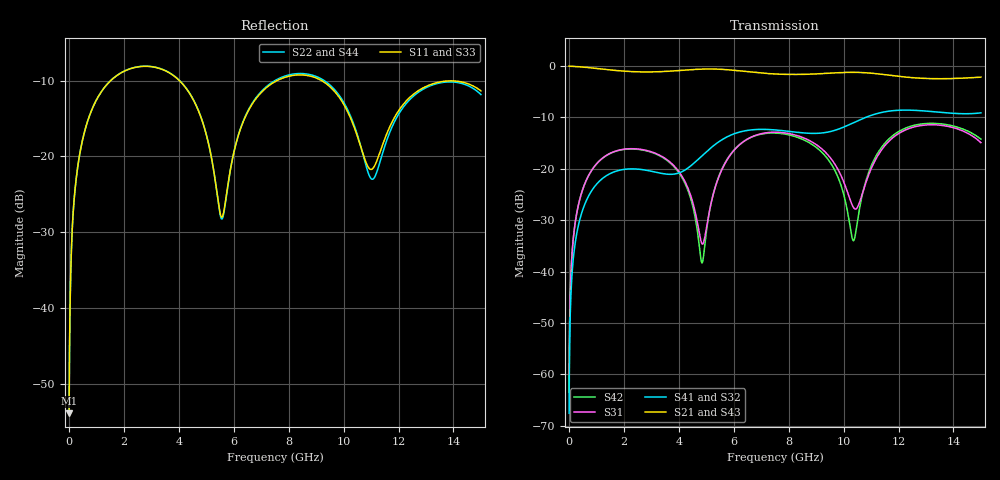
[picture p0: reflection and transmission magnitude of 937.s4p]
! Created with skrf 1.8.0 (http://scikit-rf.org).
# GHz S RI R 50.0
!freq ReS11 ImS11 ReS12 ImS12 ReS13 ImS13
! ReS14 ImS14
! ReS21 ImS21 ReS22 ImS22 ReS23 ImS23
! ReS24 ImS24
! ReS31 ImS31 ReS32 ImS32 ReS33 ImS33
! ReS34 ImS34
! ReS41 ImS41 ReS42 ImS42 ReS43 ImS43
! ReS44 ImS44
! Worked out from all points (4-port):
!   2499 points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, 5 MHz to 15 GHz, reference 50 ohm
!   strongest paths, dB at 5 MHz, 3.476 GHz, 7.19 GHz, 11.1 GHz, 15 GHz:
!     S21: 0.0, -1.0, -1.4, -1.4, -2.2
!     S43: 0.0, -1.0, -1.4, -1.4, -2.1
!     S41: -67.6, -21.0, -12.3, -9.4, -9.1
!     S32: -67.6, -21.0, -12.4, -9.4, -9.2
!     S31: -63.5, -17.9, -13.0, -18.9, -14.9
!     S42: -63.5, -18.0, -13.1, -18.3, -14.2
!   lowest |S11| = -53.9 dB at 5 MHz (marker M1), VSWR 1.00, Z = 50.2 + j0.123 ohm
!   |S11| at or under -10 dB: start of sweep to 1.521 GHz; 4.02 GHz to 7.577 GHz (3.557 GHz wide, 61.3 % of centre); 9.197 GHz to end of sweep
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0.005  0.00161 0.00122  0.9984 -0.00314  8.18e-05 0.000661  -7.93e-05 -0.000411
       0.9984 -0.00314  0.00161 0.00122  -7.93e-05 -0.000411  8.17e-05 0.000661
       8.18e-05 0.000661  -7.93e-05 -0.000411  0.00161 0.00122  0.9984 -0.00314
       -7.93e-05 -0.000411  8.17e-05 0.000661  0.9984 -0.00314  0.00161 0.00122
0.3126303  0.0234 0.0807  0.968 -0.1957  0.0111 0.0393  -0.00915 -0.0242
           0.968 -0.1957  0.0235 0.0807  -0.00914 -0.0242  0.0109 0.0393
           0.0111 0.0393  -0.00914 -0.0242  0.0234 0.0807  0.968 -0.1957
           -0.00915 -0.0242  0.0109 0.0393  0.968 -0.1957  0.0235 0.0807
1.469362  0.2484 0.1849  0.5939 -0.7017  0.123 0.0677  -0.0881 -0.0136
          0.5939 -0.7017  0.249 0.1845  -0.088 -0.0138  0.1214 0.0697
          0.123 0.0677  -0.088 -0.0138  0.2485 0.1848  0.5939 -0.7017
          -0.0881 -0.0136  0.1214 0.0697  0.5939 -0.7017  0.2489 0.1846
5.377241  0.0408 -0.0436  -0.9213 -0.1581  -0.0139 0.0716  -0.0274 0.1752
          -0.9213 -0.1581  0.0395 -0.0445  -0.0301 0.1747  -0.0102 0.0732
          -0.0139 0.0716  -0.0301 0.1747  0.0417 -0.0428  -0.9213 -0.1581
          -0.0274 0.1752  -0.0102 0.0732  -0.9213 -0.1581  0.0385 -0.0444
8.728637  0.3362 -0.053  0.0415 0.8327  0.1633 -0.0977  0.2048 -0.0858
          0.0415 0.8327  0.3417 -0.065  0.2044 -0.078  0.1636 -0.0773
          0.1633 -0.0977  0.2044 -0.078  0.338 -0.0586  0.041 0.8325
          0.2048 -0.0858  0.1636 -0.0773  0.041 0.8325  0.3412 -0.0594
10.36057  0.1197 -0.1067  0.713 0.4976  -0.0364 -0.0212  0.1493 -0.2383
          0.713 0.4976  0.1114 -0.1215  0.1592 -0.2317  -0.0193 -0.00533
          -0.0364 -0.0212  0.1592 -0.2317  0.1153 -0.1116  0.7122 0.4984
          0.1493 -0.2383  -0.0193 -0.00533  0.7122 0.4984  0.1175 -0.119
15  0.2403 -0.1244  -0.2279 -0.7464  0.1377 -0.1158  -0.3063 0.171
    -0.2279 -0.7464  0.2196 -0.1316  -0.3121 0.1508  0.1156 -0.1568
    0.1377 -0.1158  -0.3121 0.1508  0.2387 -0.1314  -0.2275 -0.7476
    -0.3063 0.171  0.1156 -0.1568  -0.2275 -0.7476  0.2156 -0.1209
